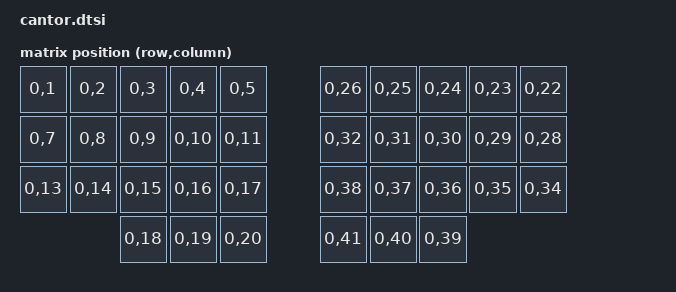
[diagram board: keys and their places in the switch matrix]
/*
 * Copyright (c) 2024 The ZMK Contributors
 *
 * SPDX-License-Identifier: MIT
 *
 * Cantor keyboard – 42-key diodeless split (3x6 + 3 thumb per side).
 * Uses a 5-column matrix transform to match the Corne 5-col layout,
 * dropping the outermost column on each half.
 *
 * Direct-pin kscan positions per half (21 keys each):
 *   0-5   row 0  (outer → inner)
 *   6-11  row 1
 *   12-17 row 2
 *   18-20 thumb keys
 *
 * Both halves use the SAME pin order (B1, B10, A8, …).
 * The right half applies col-offset=<21> so its columns become 21-41.
 * The transform map mirrors the right side (inner-first) to match the
 * keymap's left-then-right ordering per row.
 */

#include <dt-bindings/zmk/matrix_transform.h>
#include <dt-bindings/gpio/gpio.h>

/ {
    chosen {
        zmk,kscan = &kscan0;
        zmk,matrix-transform = &five_col_transform;
    };

    /*
     * 5-column transform (36 keys) – identical key count to the Corne 5-col.
     *
     * Left  cols 0-20  (no offset):  skip 0/6/12 (outer), use 1-5, 7-11, 13-17, 18-20.
     * Right cols 21-41 (col-offset=21): skip 21/27/33 (outer=B1), use inner-first
     *   i.e. 26,25,24,23,22 / 32,31,30,29,28 / 38,37,36,35,34 / 41,40,39.
     */
    five_col_transform: keymap_transform_0 {
        compatible = "zmk,matrix-transform";
        columns = <42>;
        rows = <1>;
        map = <
            RC(0,1)  RC(0,2)  RC(0,3)  RC(0,4)  RC(0,5)      RC(0,26) RC(0,25) RC(0,24) RC(0,23) RC(0,22)
            RC(0,7)  RC(0,8)  RC(0,9)  RC(0,10) RC(0,11)     RC(0,32) RC(0,31) RC(0,30) RC(0,29) RC(0,28)
            RC(0,13) RC(0,14) RC(0,15) RC(0,16) RC(0,17)     RC(0,38) RC(0,37) RC(0,36) RC(0,35) RC(0,34)
                              RC(0,18) RC(0,19) RC(0,20)     RC(0,41) RC(0,40) RC(0,39)
        >;
    };
};
